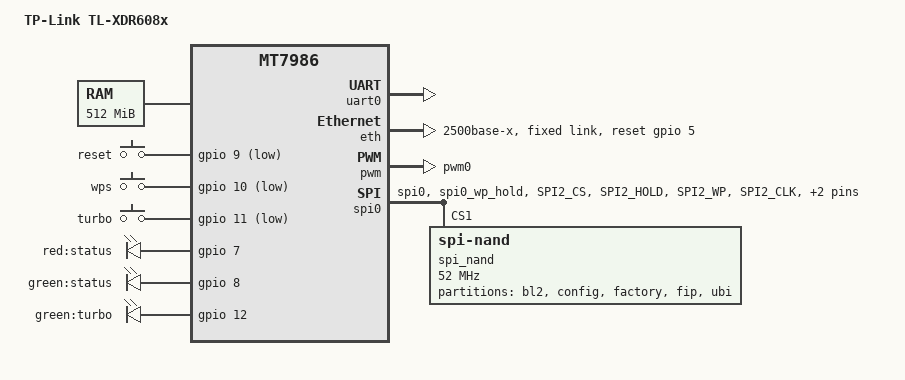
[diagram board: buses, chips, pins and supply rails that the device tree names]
// SPDX-License-Identifier: GPL-2.0
/*
 * Copyright (c) 2021 MediaTek Inc.
 * Author: Sam Shih <sam.shih@mediatek.com>
 */

/dts-v1/;
#include "mt7986.dtsi"
#include <dt-bindings/gpio/gpio.h>
#include <dt-bindings/input/linux-event-codes.h>

/ {
	#address-cells = <1>;
	#size-cells = <1>;
	model = "TP-Link TL-XDR608x";
	compatible = "mediatek,mt7986", "mediatek,mt7986-rfb";

	chosen {
		stdout-path = &uart0;
		tick-timer = &timer0;
	};

	memory@40000000 {
		device_type = "memory";
		reg = <0x40000000 0x20000000>;
	};

	keys {
		compatible = "gpio-keys";

		factory {
			label = "reset";
			linux,code = <KEY_RESTART>;
			gpios = <&gpio 9 GPIO_ACTIVE_LOW>;
		};

		wps {
			label = "wps";
			linux,code = <KEY_WPS_BUTTON>;
			gpios = <&gpio 10 GPIO_ACTIVE_LOW>;
		};

		turbo {
			label = "turbo";
			linux,code = <BTN_1>;
			gpios = <&gpio 11 GPIO_ACTIVE_LOW>;
		};
	};

	leds {
		compatible = "gpio-leds";

		status_red {
			label = "red:status";
			gpios = <&gpio 7 GPIO_ACTIVE_HIGH>;
		};

		status_green {
			label = "green:status";
			gpios = <&gpio 8 GPIO_ACTIVE_HIGH>;
		};

		turbo {
			label = "green:turbo";
			gpios = <&gpio 12 GPIO_ACTIVE_HIGH>;
		};
	};
};

&uart0 {
	mediatek,force-highspeed;
	status = "okay";
};

&uart1 {
	pinctrl-names = "default";
	pinctrl-0 = <&uart1_pins>;
	status = "disabled";
};

&eth {
	status = "okay";
	mediatek,gmac-id = <0>;
	phy-mode = "2500base-x";
	mediatek,switch = "mt7531";
	reset-gpios = <&gpio 5 GPIO_ACTIVE_HIGH>;

	fixed-link {
		speed = <2500>;
		full-duplex;
	};
};

&pinctrl {
	spi_flash_pins: spi0-pins-func-1 {
		mux {
			function = "flash";
			groups = "spi0", "spi0_wp_hold";
		};

		conf-pu {
			pins = "SPI2_CS", "SPI2_HOLD", "SPI2_WP";
			drive-strength = <MTK_DRIVE_8mA>;
			bias-pull-up = <MTK_PUPD_SET_R1R0_00>;
		};

		conf-pd {
			pins = "SPI2_CLK", "SPI2_MOSI", "SPI2_MISO";
			drive-strength = <MTK_DRIVE_8mA>;
			bias-pull-down = <MTK_PUPD_SET_R1R0_00>;
		};
	};

	spic_pins: spi1-pins-func-1 {
		mux {
			function = "spi";
			groups = "spi1_2";
		};
	};

	uart1_pins: spi1-pins-func-3 {
		mux {
			function = "uart";
			groups = "uart1_2";
		};
	};

	pwm_pins: pwm0-pins-func-1 {
		mux {
			function = "pwm";
			groups = "pwm0";
		};
	};
};

&pwm {
	pinctrl-names = "default";
	pinctrl-0 = <&pwm_pins>;
	status = "okay";
};

&spi0 {
	#address-cells = <1>;
	#size-cells = <0>;
	pinctrl-names = "default";
	pinctrl-0 = <&spi_flash_pins>;
	status = "okay";
	must_tx;
	enhance_timing;
	dma_ext;
	ipm_design;
	support_quad;
	tick_dly = <1>;
	sample_sel = <0>;

	spi_nand@1 {
		compatible = "spi-nand";
		reg = <1>;
		spi-max-frequency = <52000000>;

		partitions {
			compatible = "fixed-partitions";
			#address-cells = <1>;
			#size-cells = <1>;

			partition@0 {
				label = "bl2";
				reg = <0x0 0x80000>;
			};

			partition@100000 {
				label = "config";
				reg = <0x100000 0x60000>;
			};

			partition@160000 {
				label = "factory";
				reg = <0x160000 0x60000>;
			};

			partition@380000 {
				label = "fip";
				reg = <0x380000 0x200000>;
			};

			partition@580000 {
				label = "ubi";
				reg = <0x580000 0x7800000>;
			};
		};
	};
};

&watchdog {
	status = "disabled";
};
